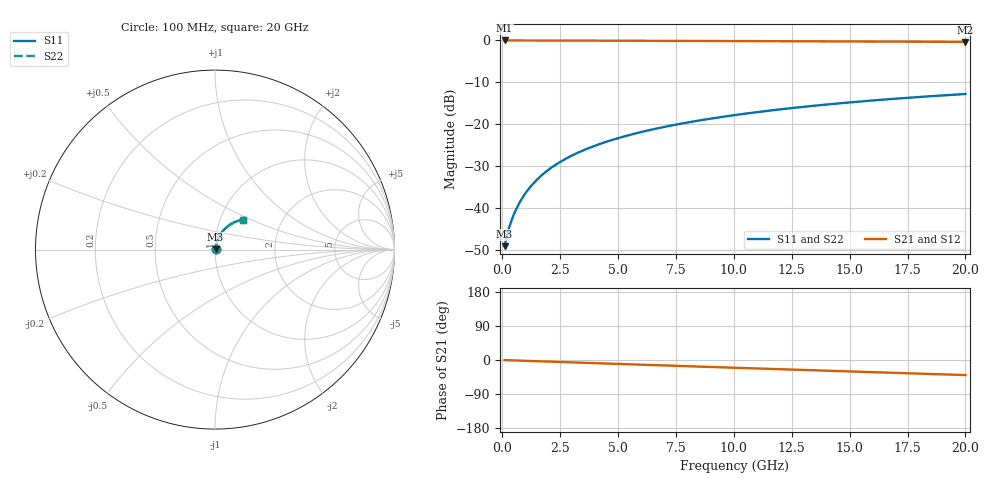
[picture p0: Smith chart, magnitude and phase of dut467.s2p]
! Touchstone file exported from HFSS 2026.1.0
!  File:  C:/ffzhzh/LocalFiles/Ansys_Project_Files/temp_train_TMRDL_467_1783006140_53980.aedt
!  Generated:  11:30:32 PM Jul  2, 2026
!  Design:  TMRDL
!  Project:  temp_train_TMRDL_467_1783006140_53980
! Variables:
!  h_bsmrdl = 2um
!  h_ox = 20um
!  h_rdl = 5um
!  h_sub = 80um
!  h_tmrdl = 4.72um
!  h_tsv = 80um
!  h_via = 3um
!  l_bsmrdl = 300um
!  l_sub = 1069.95um
!  l_tmrdl = 669.95um
!  m_sub = 200um
!  pitch = 29.12um
!  r_tsv = 6um
!  s_tmrdl = 10um
!  w_bsmrdl = 18um
!  w_sub = 500um
!  w_tmrdl = 17.53um
!  x_tsv_center1 = 678.715um
!  x_tsv_center2 = 996.715um
!  x_tsv_center3 = 1684.195um
!  x_tsv_center4 = 2002.195um
!  x_tsv_center5 = 2689.675um
!  x_tsv_center6 = 3007.675um
# GHz S MA R 50.000000
! Terminal data exported
! Port[1] = TM_RDL1_1_T1
! Port[2] = TM_RDL1_1_T2
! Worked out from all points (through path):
!   200 points, 100 MHz to 20 GHz, reference 50 ohm
!   highest |S21| = -0.03 dB at 100 MHz (marker M1); lowest = -0.4 dB at 20 GHz (marker M2)
!   group delay of S21, straight-line fit = 5.51 ps
!   lowest |S11| = -49.2 dB at 100 MHz (marker M3), VSWR 1.01, Z = 50.3 + j0.171 ohm
!   |S11| at or under -10 dB: start of sweep to end of sweep
!   |S22| runs from -49.2 to -12.8 dB; largest |S21 - S12| = 4.3e-15
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0.1  0.003482 29.2  0.997 -0.2  0.997 -0.2  0.003482 29.2
! Gamma 0 0 0 0
! Port Impedance 50 0 50 0
0.2  0.004613 44.8  0.9967 -0.4  0.9967 -0.4  0.004613 44.8
0.3  0.00584 53.2  0.9965 -0.7  0.9965 -0.7  0.00584 53.2
0.4  0.007082 58.7  0.9964 -0.9  0.9964 -0.9  0.007082 58.7
0.5  0.008342 62.7  0.9963 -1.1  0.9963 -1.1  0.008342 62.7
0.6  0.009623 65.6  0.9962 -1.3  0.9962 -1.3  0.009623 65.6
0.8  0.01224 69.7  0.996 -1.7  0.996 -1.7  0.01224 69.7
1  0.01492 72.3  0.9959 -2.1  0.9959 -2.1  0.01492 72.3
1.2  0.01763 73.9  0.9957 -2.5  0.9957 -2.5  0.01763 73.9
1.4  0.02035 75.0  0.9955 -3.0  0.9955 -3.0  0.02035 75.0
1.7  0.02444 75.9  0.9953 -3.6  0.9953 -3.6  0.02444 75.9
2.2  0.03124 76.5  0.9947 -4.6  0.9947 -4.6  0.03124 76.5
2.8  0.03932 76.3  0.9939 -5.9  0.9939 -5.9  0.03932 76.3
3.5  0.0486 75.6  0.9928 -7.3  0.9928 -7.3  0.0486 75.6
4.2  0.0577 74.6  0.9917 -8.8  0.9917 -8.8  0.0577 74.6
5  0.0679 73.3  0.9903 -10.4  0.9903 -10.4  0.0679 73.4
6.8  0.09013 70.3  0.987 -14.0  0.987 -14.0  0.09013 70.3
8.3  0.108 67.6  0.9841 -17.0  0.9841 -17.0  0.108 67.7
10.1  0.1288 64.5  0.9805 -20.6  0.9805 -20.6  0.1287 64.5
13.4  0.1649 58.5  0.9736 -27.1  0.9736 -27.1  0.1648 58.6
16.7  0.1983 52.6  0.9662 -33.5  0.9662 -33.5  0.1982 52.6
20  0.2286 46.6  0.9586 -39.8  0.9586 -39.8  0.2286 46.7
